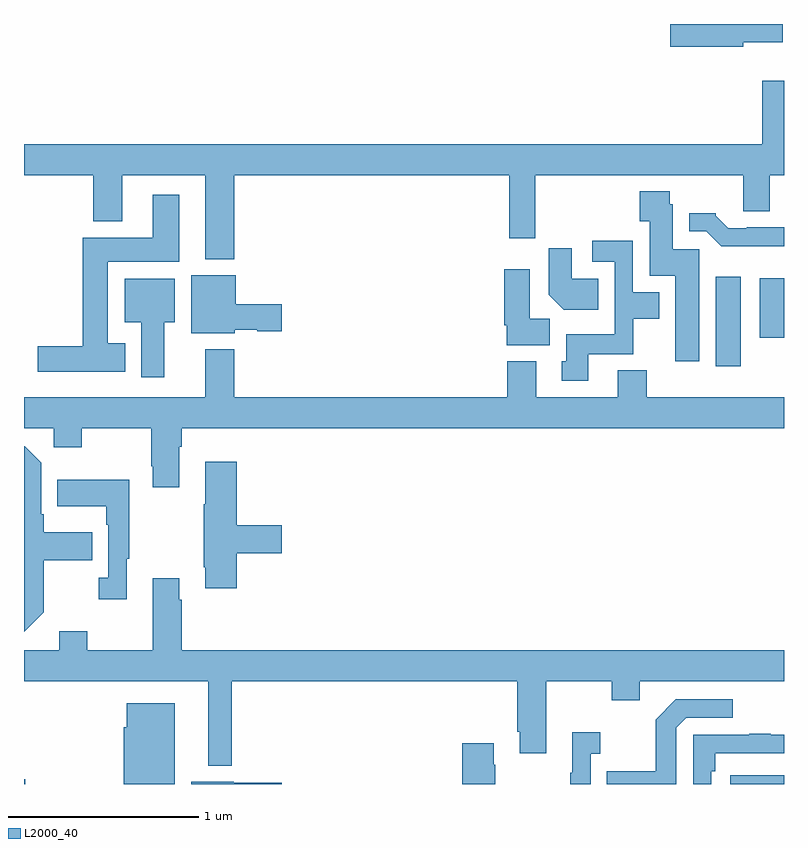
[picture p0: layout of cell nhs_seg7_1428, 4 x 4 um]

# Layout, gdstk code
import gdstk
lib = gdstk.Library(unit=1e-6, precision=1e-09)
def R(c, l, rs):  # rectangles x0, y0, x1, y1
    for r in rs: c.add(gdstk.rectangle(r[:2], r[2:], *l))
def P(c, l, *ps):  # polygons
    for p in ps: c.add(gdstk.Polygon(p, *l))
L2000_40 = (2000, 40)

nhs_seg7_1428 = lib.new_cell('nhs_seg7_1428')
R(nhs_seg7_1428, L2000_40, [(207,1076,207.007,1076.024), (210.717,1076,211,1076.046), (210.641,1078.2,210.772,1078.669), (210.872,1078.349,211,1078.663)])
P(nhs_seg7_1428, L2000_40, [(210.786,1079.903),(210.994,1079.903),(210.994,1080),(210.402,1080),(210.402,1079.879),(210.786,1079.879)],
  [(208.106,1079.204),(209.554,1079.204),(209.554,1078.872),(209.69,1078.872),(209.69,1079.204),(210.785,1079.204),(210.785,1079.014),(210.925,1079.014),(210.925,1079.204),(211,1079.204),(211,1079.701),(210.886,1079.701),(210.886,1079.368),(207,1079.368),(207,1079.204),(207.365,1079.204),(207.365,1078.961),(207.517,1078.961),(207.517,1079.204),(207.953,1079.204),(207.953,1078.763),(208.106,1078.763)],
  [(210.553,1078.815),(210.415,1078.815),(210.415,1079.052),(210.399,1079.052),(210.399,1079.119),(210.242,1079.119),(210.242,1078.963),(210.293,1078.963),(210.293,1078.676),(210.428,1078.676),(210.428,1078.224),(210.553,1078.224)],
  [(207.532,1078.321),(207.442,1078.321),(207.442,1078.748),(207.817,1078.748),(207.817,1079.101),(207.677,1079.101),(207.677,1078.876),(207.308,1078.876),(207.308,1078.304),(207.072,1078.304),(207.072,1078.169),(207.532,1078.169)],
  [(211,1078.929),(210.805,1078.929),(210.805,1078.926),(210.706,1078.926),(210.642,1078.99),(210.642,1079.005),(210.5,1079.005),(210.5,1078.908),(210.591,1078.908),(210.67,1078.83),(211,1078.83)],
  [(209.971,1078.262),(210.207,1078.262),(210.207,1078.448),(210.343,1078.448),(210.343,1078.588),(210.204,1078.588),(210.204,1078.858),(209.991,1078.858),(209.991,1078.749),(210.108,1078.749),(210.108,1078.366),(209.855,1078.366),(209.855,1078.224),(209.831,1078.224),(209.831,1078.122),(209.971,1078.122)],
  [(210.023,1078.66),(209.884,1078.66),(209.884,1078.819),(209.762,1078.819),(209.762,1078.574),(209.84,1078.496),(210.023,1078.496)],
  [(209.767,1078.448),(209.662,1078.448),(209.662,1078.708),(209.528,1078.708),(209.528,1078.414),(209.54,1078.414),(209.54,1078.31),(209.767,1078.31)],
  [(208.11,1078.391),(208.227,1078.391),(208.227,1078.384),(208.357,1078.384),(208.357,1078.526),(208.114,1078.526),(208.114,1078.678),(207.881,1078.678),(207.881,1078.373),(208.11,1078.373)],
  [(207.739,1078.43),(207.793,1078.43),(207.793,1078.66),(207.53,1078.66),(207.53,1078.43),(207.617,1078.43),(207.617,1078.14),(207.739,1078.14)],
  [(207.817,1077.776),(207.83,1077.776),(207.83,1077.872),(211,1077.872),(211,1078.036),(210.278,1078.036),(210.278,1078.177),(210.125,1078.177),(210.125,1078.036),(209.695,1078.036),(209.695,1078.225),(209.543,1078.225),(209.543,1078.036),(208.106,1078.036),(208.106,1078.288),(207.953,1078.288),(207.953,1078.036),(207,1078.036),(207,1077.872),(207.156,1077.872),(207.156,1077.773),(207.303,1077.773),(207.303,1077.872),(207.67,1077.872),(207.67,1077.673),(207.677,1077.673),(207.677,1077.561),(207.817,1077.561)],
  [(207.103,1076.905),(207.103,1077.178),(207.359,1077.178),(207.359,1077.325),(207.103,1077.325),(207.103,1077.421),(207.09,1077.421),(207.09,1077.69),(207.003,1077.777),(207,1077.777),(207,1076.802)],
  [(208.121,1077.215),(208.357,1077.215),(208.357,1077.362),(208.121,1077.362),(208.121,1077.697),(207.953,1077.697),(207.953,1077.473),(207.946,1077.473),(207.946,1077.142),(207.953,1077.142),(207.953,1077.03),(208.121,1077.03)],
  [(207.541,1077.185),(207.553,1077.185),(207.553,1077.601),(207.175,1077.601),(207.175,1077.461),(207.432,1077.461),(207.432,1077.365),(207.444,1077.365),(207.444,1077.086),(207.393,1077.086),(207.393,1076.973),(207.541,1076.973)],
  [(208.093,1076.54),(209.597,1076.54),(209.597,1076.275),(209.609,1076.275),(209.609,1076.163),(209.749,1076.163),(209.749,1076.54),(210.094,1076.54),(210.094,1076.441),(210.241,1076.441),(210.241,1076.54),(211,1076.54),(211,1076.704),(207.83,1076.704),(207.83,1076.969),(207.817,1076.969),(207.817,1077.082),(207.677,1077.082),(207.677,1076.704),(207.333,1076.704),(207.333,1076.803),(207.185,1076.803),(207.185,1076.704),(207,1076.704),(207,1076.54),(207.971,1076.54),(207.971,1076.096),(208.093,1076.096)],
  [(210.432,1076.295),(210.486,1076.349),(210.73,1076.349),(210.73,1076.445),(210.429,1076.445),(210.324,1076.339),(210.324,1076.067),(210.067,1076.067),(210.067,1076),(210.432,1076)],
  [(207.793,1076.425),(207.542,1076.425),(207.542,1076.298),(207.524,1076.298),(207.524,1076),(207.793,1076)],
  [(209.982,1076.159),(210.034,1076.159),(210.034,1076.272),(209.885,1076.272),(209.885,1076.059),(209.874,1076.059),(209.874,1076),(209.982,1076)],
  [(210.618,1076.066),(210.638,1076.066),(210.638,1076.163),(211,1076.163),(211,1076.259),(210.929,1076.259),(210.929,1076.264),(210.817,1076.264),(210.817,1076.259),(210.522,1076.259),(210.522,1076),(210.618,1076)],
  [(209.481,1076.102),(209.473,1076.102),(209.473,1076.215),(209.306,1076.215),(209.306,1076),(209.481,1076)],
  [(208.357,1076.006),(208.104,1076.006),(208.104,1076.011),(207.881,1076.011),(207.881,1076),(208.357,1076)])

lib.write_gds('nhs_seg7_1428.gds')
